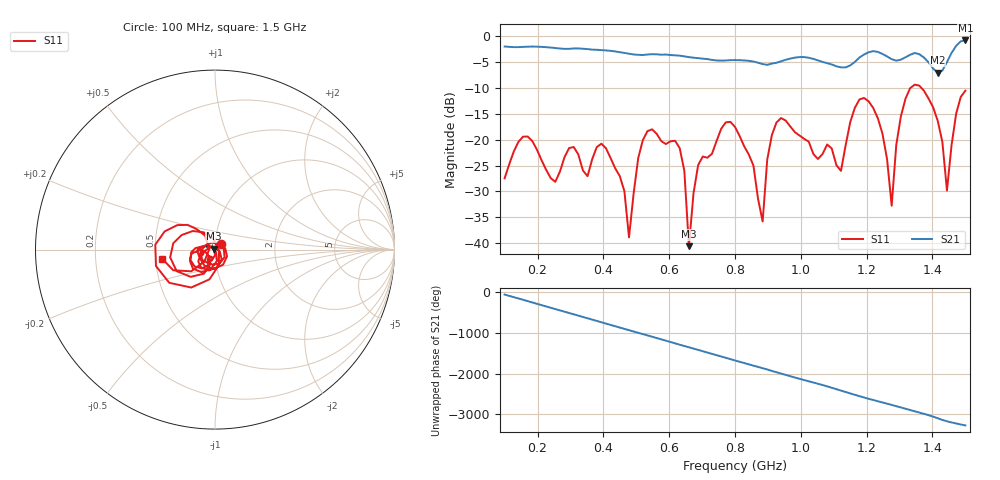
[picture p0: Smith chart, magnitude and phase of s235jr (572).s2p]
! NanoVNA-App
! Date: 2025-09-25 15:08:37
! Start: 100MHz Stop: 1,5GHz Points: 101
! S-Parameter data: F S11 S21 S12 S22
# Hz S RI R 50
!  Frequency  S11_Real  S11_Imag  S21_Real  S21_Imag  S12_Real  S12_Imag  S22_Real  S22_Imag
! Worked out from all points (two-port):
!   101 points, 100 MHz to 1.5 GHz, reference 50 ohm
!   highest |S21| = -0.79 dB at 1.5 GHz (marker M1); lowest = -7.0 dB at 1.416 GHz (marker M2)
!   |S21| within 3 dB of the highest: start of sweep to 638 MHz; 1.185 GHz to 1.259 GHz (74.04 MHz wide, 6.06 % of centre) (the widest 2 of 4)
!   lowest |S11| = -40.6 dB at 660 MHz (marker M3), VSWR 1.02, Z = 49.3 + j0.551 ohm
!   |S11| at or under -10 dB: start of sweep to 1.333 GHz; 1.367 GHz to end of sweep
!   S12 and S22 are empty: the file has one direction only
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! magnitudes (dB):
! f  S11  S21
! 100 MHz  -27.5  -2.0
! 156 MHz  -19.4  -2.0
! 338 MHz  -26.0  -2.4
! 408 MHz  -21.6  -2.7
! 478 MHz  -38.9  -3.4
! 520 MHz  -20.1  -3.6
! 576 MHz  -20.3  -3.5
! 632 MHz  -21.6  -3.7
! 660 MHz  -40.6  -4.0
! 688 MHz  -24.9  -4.2
! 800 MHz  -17.5  -4.6
! 884 MHz  -35.8  -5.4
! 926 MHz  -16.7  -5.1
! 1.038 GHz  -22.7  -4.4
! 1.122 GHz  -26.0  -6.0
! 1.192 GHz  -11.9  -3.5
! 1.248 GHz  -18.8  -3.4
! 1.276 GHz  -32.8  -4.4
! 1.332 GHz  -10.0  -3.6
! 1.416 GHz  -16.4  -7.0
! 1.444 GHz  -29.8  -5.0
! 1.5 GHz  -10.5  -0.8
